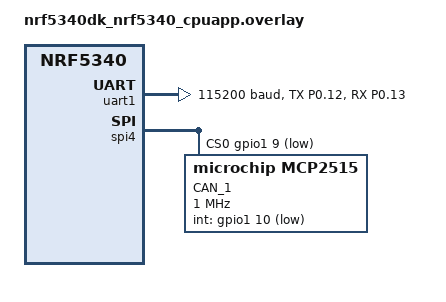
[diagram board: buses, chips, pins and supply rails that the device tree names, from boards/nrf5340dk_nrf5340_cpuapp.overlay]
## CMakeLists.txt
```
cmake_minimum_required(VERSION 3.20.0)

set(CONF_FILE
  "${CMAKE_CURRENT_SOURCE_DIR}/prj.conf"
# "${CMAKE_CURRENT_SOURCE_DIR}/../DTMC_ZEPHYR_DTIOX_CAN_COMMON.conf"
# "${CMAKE_CURRENT_SOURCE_DIR}/../DTMC_ZEPHYR_OPENTHREAD_COAP_COMMON.conf"
# "${CMAKE_CURRENT_SOURCE_DIR}/../DTMC_ZEPHYR_RPC_HOST_COMMON.conf"
  "${CMAKE_CURRENT_SOURCE_DIR}/../DTMC_ZEPHYR_SYSTEM_COMMON.conf"
)

find_package(Zephyr REQUIRED HINTS $ENV{ZEPHYR_BASE})

project(app_zephyr)

set(DTCORE_LIBRARY        ${CMAKE_CURRENT_SOURCE_DIR}/../../dtcore_library)
set(DTMC_BASE_LIBRARY     ${CMAKE_CURRENT_SOURCE_DIR}/../../dtmc_base_library)
set(DTMC_BASE_DEMOS       ${CMAKE_CURRENT_SOURCE_DIR}/../../dtmc_base_demos)
set(DTMC_ZEPHYR_LIBRARY   ${CMAKE_CURRENT_SOURCE_DIR}/../../dtmc_zephyr_library)

# Bring in external object libraries
add_subdirectory(${DTCORE_LIBRARY}        ${CMAKE_BINARY_DIR}/dtcore_library)
add_subdirectory(${DTMC_BASE_LIBRARY}     ${CMAKE_BINARY_DIR}/dtmc_base_library)
add_subdirectory(${DTMC_BASE_DEMOS}       ${CMAKE_BINARY_DIR}/dtmc_base_demos)
add_subdirectory(${DTMC_ZEPHYR_LIBRARY}   ${CMAKE_BINARY_DIR}/dtmc_zephyr_library)

target_include_directories(app PRIVATE
    ${DTCORE_LIBRARY}/include
    ${DTMC_BASE_LIBRARY}/include
    ${DTMC_BASE_DEMOS}/include
    ${DTMC_ZEPHYR_LIBRARY}/include
)

# Use the Zephyr build target (called 'app') – this is created implicitly
target_sources(app PRIVATE
    src/main.c
)
```

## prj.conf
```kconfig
# ---- memory configuration
# our dtlog uses at least 1k
CONFIG_MAIN_STACK_SIZE=8192
CONFIG_HEAP_MEM_POOL_SIZE=32768


# ---- system, kernel, logging and console configuration
# see DTMC_ZEPHYR_SYSTEM_COMMON.conf included by CMakeLists.txt

# ---- bluetooth configuration
# see DTMC_ZEPHYR_RPC_HOST_COMMON.conf included by CMakeLists.txt

# ---- CoAP configuration
# see DTMC_ZEPHYR_OPENTHREAD_COAP_COMMON.conf included by CMakeLists.txt

# ---- CAN configuration
# see DTMC_ZEPHYR_DTIOX_CAN_COMMON.conf included by CMakeLists.txt
```

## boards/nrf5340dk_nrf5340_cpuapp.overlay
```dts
/* Keep console on uart0; bring up a second UART (uart1) on P0.12/P0.13 */
&uart1 {
    status = "okay";
    current-speed = <115200>;

    pinctrl-0 = <&uart1_default>;
    pinctrl-1 = <&uart1_sleep>;
    pinctrl-names = "default", "sleep";
    /* Uncomment if you also add RTS/CTS psels below */
    /* hw-flow-control; */
};

&pinctrl {
    /* Active state: TX=P0.12, RX=P0.13 */
    uart1_default: uart1_default {
        group0 {
            psels = <NRF_PSEL(UART_TX, 0, 12)>,
                    <NRF_PSEL(UART_RX, 0, 13)>;
            /* Optional: keep RX high when idle */
            bias-pull-up;
        };
    };

    /* Sleep/low-power state */
    uart1_sleep: uart1_sleep {
        group0 {
            psels = <NRF_PSEL(UART_TX, 0, 12)>,
                    <NRF_PSEL(UART_RX, 0, 13)>;
            low-power-enable;
        };
    };
};

&spi4 {
    status = "okay";

    cs-gpios = <&gpio1 9 GPIO_ACTIVE_LOW>;

    canbus: mcp2515@0 {
        compatible = "microchip,mcp2515";
        reg = <0>;                       // CS index
        spi-max-frequency = <1000000>;
        int-gpios = <&gpio1 10 GPIO_ACTIVE_LOW>;
        status = "okay";
        label = "CAN_1";                 // runtime binding name (optional if you use DT macros)
        osc-freq = <16000000>;
        bus-speed = <500000>;

        /* timing properties as needed... */
    };
};

/ {
    chosen {
        zephyr,canbus = &canbus;
    };
};
```

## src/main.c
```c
#include <dtcore/dterr.h>

#include <dtcore/dtlog.h>
#include <dtcore/dtstr.h>

#include <dtmc_base_demos/demo_runtime_info.h>

#define TAG "main"

// --------------------------------------------------------------------------------------
static void
_each_error_log(dterr_t* dterr, void* context)
{
    const char* tag = (const char*)context;
    dtlog_error(tag, "%s@%ld in %s: %s", dterr->source_file, (long)dterr->line_number, dterr->source_function, dterr->message);
}

// --------------------------------------------------------------------------------------
int
main(int argc, char* argv[])
{
    dterr_t* dterr = NULL;
    dtmc_base_demo_runtime_info_t* demo = NULL;

    // === create and configure the demo instance ===
    {
        DTERR_C(dtmc_base_demo_runtime_info_create(&demo));
        dtmc_base_demo_runtime_info_config_t c = { 0 };
        DTERR_C(dtmc_base_demo_runtime_info_configure(demo, &c));
    }

    // === start the demo ===
    DTERR_C(dtmc_base_demo_runtime_info_start(demo));

cleanup:
    if (dterr != NULL)
    {
        dterr_each(dterr, _each_error_log, (void*)TAG);
        dterr_dispose(dterr);
    }

    // dispose because start may have left things running
    dtmc_base_demo_runtime_info_dispose(demo);

    return 0;
}
```
